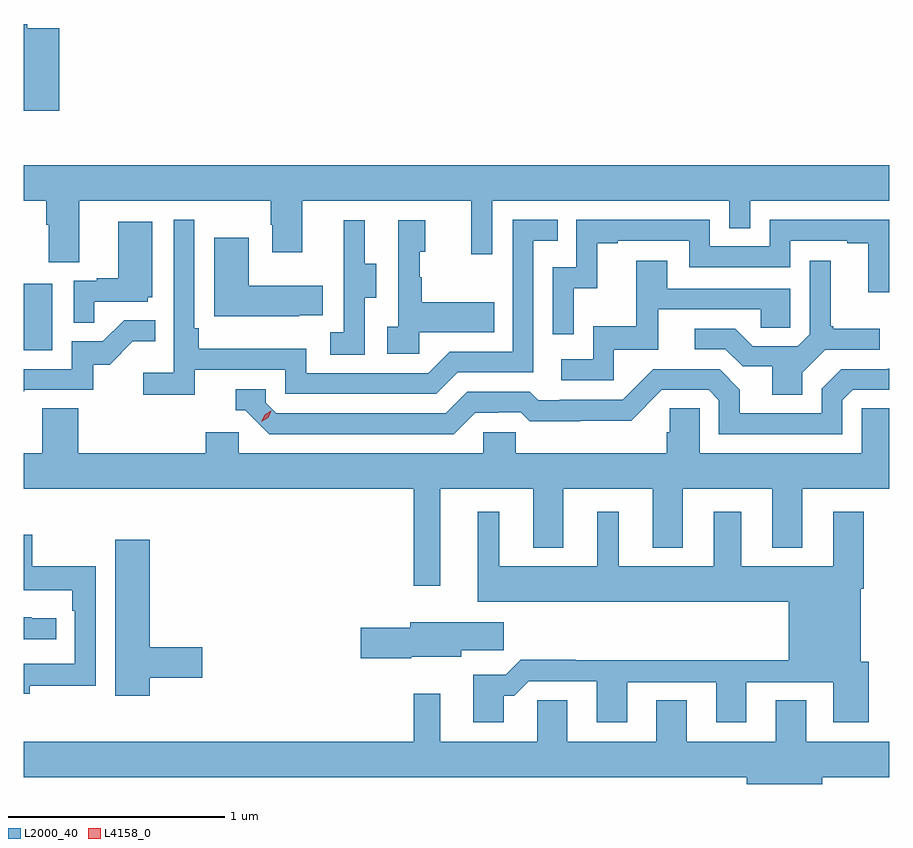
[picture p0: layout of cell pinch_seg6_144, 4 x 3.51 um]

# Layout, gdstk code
import gdstk
lib = gdstk.Library(unit=1e-6, precision=1e-09)
def R(c, l, rs):  # rectangles x0, y0, x1, y1
    for r in rs: c.add(gdstk.rectangle(r[:2], r[2:], *l))
def P(c, l, *ps):  # polygons
    for p in ps: c.add(gdstk.Polygon(p, *l))
L2000_40 = (2000, 40)
L4158_0 = (4158, 0)

pinch_seg6_144 = lib.new_cell('pinch_seg6_144')
R(pinch_seg6_144, L2000_40, [(974.319,922.668,974.452,922.975)])
P(pinch_seg6_144, L2000_40, [(974.483,924.156),(974.336,924.156),(974.336,924.176),(974.319,924.176),(974.319,923.775),(974.483,923.775)],
  [(974.575,923.36),(975.46,923.36),(975.46,923.249),(975.467,923.249),(975.467,923.121),(975.607,923.121),(975.607,923.36),(976.388,923.36),(976.388,923.112),(976.485,923.112),(976.485,923.36),(977.58,923.36),(977.58,923.233),(977.676,923.233),(977.676,923.36),(978.319,923.36),(978.319,923.524),(974.319,923.524),(974.319,923.36),(974.423,923.36),(974.423,923.248),(974.435,923.248),(974.435,923.074),(974.575,923.074)],
  [(975.11,922.578),(975.528,922.578),(975.528,922.467),(976.225,922.467),(976.324,922.566),(976.674,922.566),(976.674,923.175),(976.787,923.175),(976.787,923.271),(976.578,923.271),(976.578,922.662),(976.287,922.662),(976.188,922.563),(975.624,922.563),(975.624,922.675),(975.128,922.675),(975.128,922.771),(975.108,922.771),(975.108,923.272),(975.012,923.272),(975.012,922.564),(974.871,922.564),(974.871,922.462),(975.11,922.462)],
  [(976.86,922.955),(976.97,922.955),(976.97,923.163),(977.065,923.163),(977.065,923.175),(977.394,923.175),(977.394,923.052),(977.862,923.052),(977.862,923.175),(978.125,923.175),(978.125,923.163),(978.221,923.163),(978.221,922.937),(978.319,922.937),(978.319,923.035),(978.318,923.035),(978.318,923.271),(977.766,923.271),(977.766,923.148),(977.49,923.148),(977.49,923.271),(976.872,923.271),(976.872,923.052),(976.764,923.052),(976.764,922.743),(976.86,922.743)],
  [(976.146,922.751),(976.493,922.751),(976.493,922.891),(976.159,922.891),(976.159,923.006),(976.149,923.006),(976.149,923.124),(976.174,923.124),(976.174,923.269),(976.05,923.269),(976.05,922.778),(975.999,922.778),(975.999,922.653),(976.146,922.653)],
  [(975.894,922.912),(975.949,922.912),(975.949,923.067),(975.895,923.067),(975.895,923.269),(975.797,923.269),(975.797,923.055),(975.798,923.055),(975.798,922.751),(975.735,922.751),(975.735,922.648),(975.894,922.648)],
  [(974.645,922.893),(974.892,922.893),(974.892,922.914),(974.914,922.914),(974.914,923.263),(974.756,923.263),(974.756,923.002),(974.657,923.002),(974.657,922.989),(974.55,922.989),(974.55,922.795),(974.645,922.795)],
  [(975.593,922.829),(975.701,922.829),(975.701,922.966),(975.358,922.966),(975.358,923.188),(975.2,923.188),(975.2,922.826),(975.593,922.826)],
  [(977.046,922.671),(977.251,922.671),(977.251,922.857),(977.725,922.857),(977.725,922.773),(977.862,922.773),(977.862,922.953),(977.293,922.953),(977.293,923.083),(977.149,923.083),(977.149,922.78),(976.95,922.78),(976.95,922.626),(976.803,922.626),(976.803,922.53),(977.046,922.53)],
  [(977.917,922.564),(978.024,922.671),(978.274,922.671),(978.274,922.768),(978.061,922.768),(978.061,922.78),(978.049,922.78),(978.049,923.083),(977.952,923.083),(977.952,922.743),(977.895,922.686),(977.689,922.686),(977.608,922.767),(977.421,922.767),(977.421,922.674),(977.562,922.674),(977.642,922.594),(977.777,922.594),(977.777,922.462),(977.917,922.462)],
  [(974.321,922.485),(974.64,922.485),(974.64,922.602),(974.716,922.602),(974.823,922.709),(974.927,922.709),(974.927,922.808),(974.783,922.808),(974.685,922.71),(974.541,922.71),(974.541,922.581),(974.319,922.581),(974.319,922.48),(974.321,922.48)],
  [(976.405,922.38),(976.512,922.38),(976.512,922.383),(976.615,922.383),(976.657,922.341),(976.89,922.341),(976.89,922.343),(977.126,922.343),(977.268,922.485),(977.484,922.485),(977.532,922.437),(977.532,922.281),(978.102,922.281),(978.102,922.437),(978.15,922.485),(978.319,922.485),(978.319,922.583),(978.312,922.583),(978.312,922.581),(978.096,922.581),(978.006,922.491),(978.006,922.377),(977.629,922.377),(977.629,922.487),(977.535,922.581),(977.229,922.581),(977.088,922.44),(976.795,922.44),(976.795,922.437),(976.696,922.437),(976.657,922.476),(976.368,922.476),(976.269,922.377),(975.486,922.377),(975.438,922.425),(975.438,922.488),(975.299,922.488),(975.299,922.392),(975.342,922.392),(975.453,922.281),(976.306,922.281)],
  [(976.243,922.028),(976.673,922.028),(976.673,921.755),(976.813,921.755),(976.813,922.028),(977.225,922.028),(977.225,921.755),(977.365,921.755),(977.365,922.028),(977.777,922.028),(977.777,921.755),(977.917,921.755),(977.917,922.028),(978.319,922.028),(978.319,922.4),(978.192,922.4),(978.192,922.192),(977.442,922.192),(977.442,922.4),(977.305,922.4),(977.305,922.29),(977.291,922.29),(977.291,922.192),(976.593,922.192),(976.593,922.29),(976.443,922.29),(976.443,922.192),(975.312,922.192),(975.312,922.29),(975.161,922.29),(975.161,922.192),(974.57,922.192),(974.57,922.4),(974.405,922.4),(974.405,922.192),(974.319,922.192),(974.319,922.028),(976.122,922.028),(976.122,921.579),(976.243,921.579)],
  [(976.537,921.071),(976.586,921.071),(976.653,921.138),(976.967,921.138),(976.967,920.949),(977.107,920.949),(977.107,921.135),(977.519,921.135),(977.519,920.949),(977.659,920.949),(977.659,921.135),(978.059,921.135),(978.059,920.949),(978.224,920.949),(978.224,921.228),(978.187,921.228),(978.187,921.566),(978.2,921.566),(978.2,921.922),(978.059,921.922),(978.059,921.67),(977.635,921.67),(977.635,921.922),(977.507,921.922),(977.507,921.67),(977.068,921.67),(977.068,921.922),(976.97,921.922),(976.97,921.67),(976.516,921.67),(976.516,921.922),(976.418,921.922),(976.418,921.506),(977.855,921.506),(977.855,921.236),(976.871,921.236),(976.871,921.239),(976.616,921.239),(976.546,921.169),(976.397,921.169),(976.397,920.949),(976.537,920.949)],
  [(974.347,921.118),(974.652,921.118),(974.652,921.67),(974.359,921.67),(974.359,921.816),(974.319,921.816),(974.319,921.56),(974.543,921.56),(974.543,921.464),(974.556,921.464),(974.556,921.219),(974.319,921.219),(974.319,921.08),(974.347,921.08)],
  [(974.902,921.154),(975.145,921.154),(975.145,921.296),(974.902,921.296),(974.902,921.793),(974.741,921.793),(974.741,921.072),(974.902,921.072)],
  [(974.47,921.429),(974.357,921.429),(974.357,921.434),(974.319,921.434),(974.319,921.333),(974.47,921.333)],
  [(976.11,921.251),(976.342,921.251),(976.342,921.283),(976.537,921.283),(976.537,921.412),(976.106,921.412),(976.106,921.386),(975.876,921.386),(975.876,921.244),(976.11,921.244)],
  [(978.01,920.696),(978.319,920.696),(978.319,920.86),(977.935,920.86),(977.935,921.05),(977.795,921.05),(977.795,920.86),(977.383,920.86),(977.383,921.05),(977.243,921.05),(977.243,920.86),(976.831,920.86),(976.831,921.05),(976.692,921.05),(976.692,920.86),(976.243,920.86),(976.243,921.082),(976.122,921.082),(976.122,920.86),(974.319,920.86),(974.319,920.696),(977.66,920.696),(977.66,920.664),(978.01,920.664)])
P(pinch_seg6_144, L4158_0, [(975.417,922.337),(975.417,922.338),(975.433,922.37),(975.463,922.389),(975.464,922.389),(975.464,922.389),(975.448,922.357),(975.417,922.337)])

lib.write_gds('pinch_seg6_144.gds')
